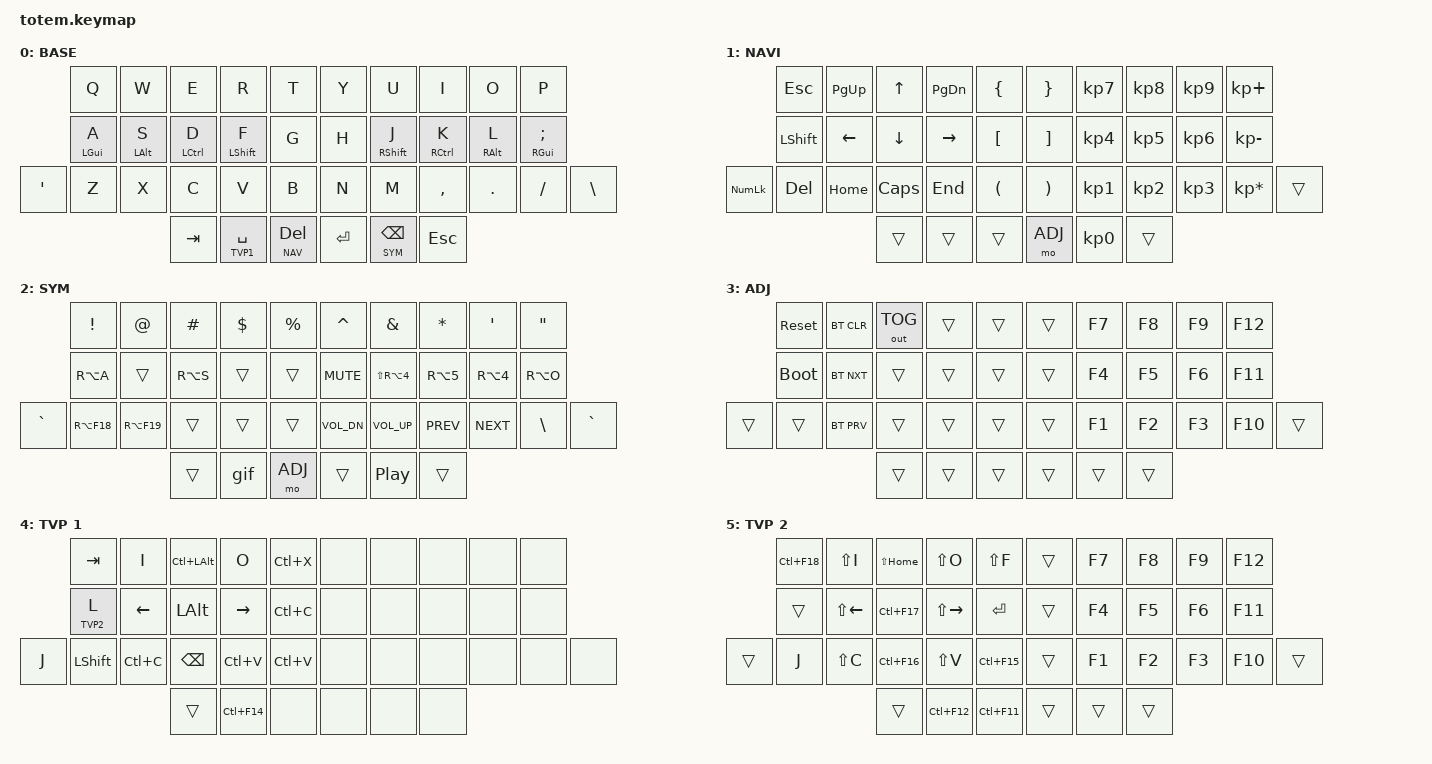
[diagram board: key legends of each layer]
//
//                                                        ▀▀▀▀▀     ▀▀▀▀▀          ▀▀█▀▀
//                                                        ▄▀▀▀▄  ▄  ▄▀▀▀▄  ▄  ▄▀▀▀▄  █  ▄▀▀▀▄
//                                                        █   █  █  █   █  █  █   █  █  █   █
//                                                         ▀▀▀   █   ▀▀▀   █   ▀▀▀   ▀   ▀▀▀
//                                                               █      ▄▄▄█▄▄▄    █   █  
//                                                               ▀      █  █  █     █▄█
//                                                             ▀▀▀▀▀    █  █  █      ▀
//                                                                      ▀  ▀  ▀
//
// ▄▄▄▄▄▄▄▄▄▄▄▄▄▄▄▄▄▄▄▄▄▄▄▄▄▄▄▄▄▄▄▄▄▄▄▄▄▄▄▄▄▄▄▄▄▄▄▄▄▄▄▄▄▄▄▄▄▄▄▄▄▄▄▄▄▄▄▄▄▄▄▄▄▄▄▄▄▄▄▄▄▄▄▄▄▄▄▄▄▄▄▄▄▄▄▄▄▄▄▄▄▄▄▄▄▄▄▄▄▄▄▄▄▄▄▄▄▄▄▄▄▄▄▄▄▄▄▄▄▄▄▄▄▄▄▄▄▄▄▄▄▄▄▄▄▄▄▄▄
       

#include <behaviors.dtsi>
#include <dt-bindings/zmk/keys.h>
#include <dt-bindings/zmk/bt.h>
#include <dt-bindings/zmk/outputs.h>

#define BASE 0
#define NAV  1
#define SYM  2
#define ADJ  3
#define TVP1 4
#define TVP2 5

#define _UNDO       LC(Z)
#define _CUT        LC(X)
#define _COPY       LC(C)
#define _PASTE      LC(V)
#define _FIND       LC(F)
#define _FIND_NEXT  LC(G)
#define _FIND_PREV  LC(LS(G))

#define LEFT_HAND_KEYS      \
        0  1  2  3  4       \
       10 11 12 13 14       \
    30 20 21 22 23 24    
#define RIGHT_HAND_KEYS     \
                                   5  6  7  8  9 \
                                  15 16 17 18 19 \
                                  25 26 27 28 29 31
#define THUMB_KEYS          \
                    32 33 34 35 36 37


&mt {
  quick-tap-ms = <100>;
  global-quick-tap;
  flavor = "tap-preferred";
  tapping-term-ms = <170>;
};

/ {
    behaviors {

        hml: home_row_mod_left {
            compatible = "zmk,behavior-hold-tap";
            #binding-cells = <2>;
            flavor = "balanced";
            require-prior-idle-ms = <150>;
            tapping-term-ms = <280>;
            quick-tap-ms = <175>;
            bindings = <&kp>, <&kp>;
            hold-trigger-key-positions = <RIGHT_HAND_KEYS THUMB_KEYS>; // List of keys on the right side of the keyboard
            hold-trigger-on-release;
        };
        hmr: home_row_mod_right {
            compatible = "zmk,behavior-hold-tap";
            #binding-cells = <2>;
            flavor = "balanced";
            require-prior-idle-ms = <150>;
            tapping-term-ms = <280>;
            quick-tap-ms = <175>;
            bindings = <&kp>, <&kp>;
            hold-trigger-key-positions = <LEFT_HAND_KEYS THUMB_KEYS>; // List of keys on the left side of the keyboard
            hold-trigger-on-release;
        };
    };
};

/ {
     combos {
            compatible = "zmk,combos";
            combo_esc {
                timeout-ms = <50>;
                key-positions = <0 1>;
                bindings = <&kp ESC>;
            };
            combo_tvp {
                timeout-ms = <100>;
                key-positions = <11 12 13>;
                bindings = <&tog TVP1>;
            };

            combo_ret {
                timeout-ms = <50>;
                key-positions = <7 8 9>;
                bindings = <&kp RET>;
            };
    };

    macros {
        gif: gif {
            label = "giphy";
            compatible = "zmk,behavior-macro";
            #binding-cells = <0>;
            bindings
                = <&macro_press &kp LSHFT>
                , <&macro_tap &kp N2>
                , <&macro_release &kp LSHFT>
                , <&macro_tap &kp G &kp I &kp F>
                ;
        };
    };

        keymap {
                compatible = "zmk,keymap";
// ▄▄▄▄▄▄▄▄▄▄▄▄▄▄▄▄▄▄▄▄▄▄▄▄▄▄▄▄▄▄▄▄▄▄▄▄▄▄▄▄▄▄▄▄▄▄▄▄▄▄▄▄▄▄▄▄▄▄▄▄▄▄▄▄▄▄▄▄▄▄▄▄▄▄▄▄▄▄▄▄▄▄▄▄▄▄▄▄▄▄▄▄▄▄▄▄▄▄▄▄▄▄▄▄▄▄▄▄▄▄▄▄▄▄▄▄▄▄▄▄▄▄▄▄▄▄▄▄▄▄▄▄▄▄▄▄▄▄▄▄▄▄▄▄▄▄▄▄▄

                base_layer {
// ┏━━━━━━━━━━━━━━━━━━━━━━━━━━━━━━━━━━━━━━━┓
label= "BASE"                              ;
// ┗━━━━━━━━━━━━━━━━━━━━━━━━━━━━━━━━━━━━━━━┛
//             ┏━━━━━━━━━━━┳━━━━━━━━━━━┳━━━━━━━━━━━┳━━━━━━━━━━━┳━━━━━━━━━━━┓   ┏━━━━━━━━━━━┳━━━━━━━━━━━┳━━━━━━━━━━━┳━━━━━━━━━━━┳━━━━━━━━━━━┓
//             ┃     Q     ┃     W     ┃     E     ┃     R     ┃     T     ┃   ┃     Y     ┃     U     ┃     I     ┃     O     ┃     P     ┃
//             ┣━━━━━━━━━━━╋━━━━━━━━━━━╋━━━━━━━━━━━╋━━━━━━━━━━━╋━━━━━━━━━━━┫   ┣━━━━━━━━━━━╋━━━━━━━━━━━╋━━━━━━━━━━━╋━━━━━━━━━━━╋━━━━━━━━━━━┫
//             ┃     A     ┃     S     ┃     D     ┃     F     ┃     G     ┃   ┃     H     ┃     J     ┃     K     ┃     L     ┃     :     ┃
// ┏━━━━━━━━━━━╋━━━━━━━━━━━╋━━━━━━━━━━━╋━━━━━━━━━━━╋━━━━━━━━━━━╋━━━━━━━━━━━┫   ┣━━━━━━━━━━━╋━━━━━━━━━━━╋━━━━━━━━━━━╋━━━━━━━━━━━╋━━━━━━━━━━━╋━━━━━━━━━━━┓
// ┃     "'    ┃     Z     ┃     X     ┃     C     ┃     V     ┃     B     ┃   ┃     N     ┃     M     ┃     ,     ┃     .     ┃     /     ┃     \     ┃
// ┗━━━━━━━━━━━┻━━━━━━━━━━━┻━━━━━━━━━━━╋━━━━━━━━━━━╋━━━━━━━━━━━╋━━━━━━━━━━━┫   ┣━━━━━━━━━━━╋━━━━━━━━━━━╋━━━━━━━━━━━╋━━━━━━━━━━━┻━━━━━━━━━━━┻━━━━━━━━━━━┛
//                                     ┃    DEL    ┃    TAB    ┃    SPC    ┃   ┃   ENTER   ┃   BSPC    ┃    ESC    ┃
//                                     ┗━━━━━━━━━━━┻━━━━━━━━━━━┻━━━━━━━━━━━┛   ┗━━━━━━━━━━━┻━━━━━━━━━━━┻━━━━━━━━━━━┛
 bindings = <
// ╷           ╷           ╷           ╷           ╷           ╷           ╷                   ╷           ╷           ╷           ╷           ╷           ╷

                &kp Q       &kp W       &kp E       &kp R       &kp T               &kp Y       &kp U         &kp I         &kp O        &kp P
                &hml LGUI A &hml LALT S &hml LCTRL D &hml LSHFT F &kp G             &kp H       &hmr RSHFT J  &hmr RCTRL K  &hmr RALT L  &hmr RGUI SEMI
        &kp SQT &kp Z       &kp X       &kp C       &kp V       &kp B               &kp N       &kp M         &kp COMMA     &kp DOT      &kp FSLH    &kp BSLH
                                        &kp TAB     &lt TVP1 SPACE &lt NAV DEL      &kp RET     &lt SYM BSPC  &kp ESC
                        >;
                };

// ▄▄▄▄▄▄▄▄▄▄▄▄▄▄▄▄▄▄▄▄▄▄▄▄▄▄▄▄▄▄▄▄▄▄▄▄▄▄▄▄▄▄▄▄▄▄▄▄▄▄▄▄▄▄▄▄▄▄▄▄▄▄▄▄▄▄▄▄▄▄▄▄▄▄▄▄▄▄▄▄▄▄▄▄▄▄▄▄▄▄▄▄▄▄▄▄▄▄▄▄▄▄▄▄▄▄▄▄▄▄▄▄▄▄▄▄▄▄▄▄▄▄▄▄▄▄▄▄▄▄▄▄▄▄▄▄▄▄▄▄▄▄▄▄▄▄▄▄▄


                nav_layer {
// ┏━━━━━━━━━━━━━━━━━━━━━━━━━━━━━━━━━━━━━━━┓
label= "NAVI"                              ;
// ┗━━━━━━━━━━━━━━━━━━━━━━━━━━━━━━━━━━━━━━━┛
//             ┏━━━━━━━━━━━┳━━━━━━━━━━━┳━━━━━━━━━━━┳━━━━━━━━━━━┳━━━━━━━━━━━┓   ┏━━━━━━━━━━━┳━━━━━━━━━━━┳━━━━━━━━━━━┳━━━━━━━━━━━┳━━━━━━━━━━━┓
//             ┃    ESC    ┃ PAGE_UP   ┃     UP    ┃ PAGE_DOWN ┃     {     ┃   ┃     }     ┃     7     ┃     8     ┃     9     ┃     +     ┃
//             ┣━━━━━━━━━━━╋━━━━━━━━━━━╋━━━━━━━━━━━╋━━━━━━━━━━━╋━━━━━━━━━━━┫   ┣━━━━━━━━━━━╋━━━━━━━━━━━╋━━━━━━━━━━━╋━━━━━━━━━━━╋━━━━━━━━━━━┫
//             ┃   SHIFT   ┃   LEFT    ┃    DOWN   ┃   RIGHT   ┃     [     ┃   ┃     ]     ┃     4     ┃     5     ┃     6     ┃     -     ┃
// ┏━━━━━━━━━━━╋━━━━━━━━━━━╋━━━━━━━━━━━╋━━━━━━━━━━━╋━━━━━━━━━━━╋━━━━━━━━━━━┫   ┣━━━━━━━━━━━╋━━━━━━━━━━━╋━━━━━━━━━━━╋━━━━━━━━━━━╋━━━━━━━━━━━╋━━━━━━━━━━━┓
// ┃   NUM     ┃    DEL    ┃   HOME    ┃  C LOCK   ┃    END    ┃     (     ┃   ┃     )     ┃     1     ┃     2     ┃     3     ┃     *     ┃           ┃
// ┗━━━━━━━━━━━┻━━━━━━━━━━━┻━━━━━━━━━━━╋━━━━━━━━━━━╋━━━━━━━━━━━╋━━━━━━━━━━━┫   ┣━━━━━━━━━━━╋━━━━━━━━━━━╋━━━━━━━━━━━╋━━━━━━━━━━━┻━━━━━━━━━━━┻━━━━━━━━━━━┛
//                                     ┃           ┃    TAB    ┃    SPC    ┃   ┃    DEL    ┃     0     ┃           ┃
//                                     ┗━━━━━━━━━━━┻━━━━━━━━━━━┻━━━━━━━━━━━┛   ┗━━━━━━━━━━━┻━━━━━━━━━━━┻━━━━━━━━━━━┛
 bindings = <
// ╷           ╷           ╷           ╷           ╷           ╷           ╷   ╷           ╷           ╷           ╷           ╷           ╷           ╷

                &kp ESC     &kp PG_UP   &kp UP      &kp PG_DN   &kp LBRC        &kp RBRC    &kp KP_N7   &kp KP_N8   &kp KP_N9   &kp KP_PLUS
                &kp LSHFT   &kp LEFT    &kp DOWN    &kp RIGHT   &kp LBKT        &kp RBKT    &kp KP_N4   &kp KP_N5   &kp KP_N6   &kp KP_MINUS
    &kp KP_NUM  &kp DEL     &kp HOME    &kp CAPS    &kp END     &kp LPAR        &kp RPAR    &kp KP_N1   &kp KP_N2   &kp KP_N3   &kp KP_MULTIPLY &trans      
                                        &trans      &trans      &trans          &mo ADJ     &kp KP_N0   &trans      
                        >;
                };

// ▄▄▄▄▄▄▄▄▄▄▄▄▄▄▄▄▄▄▄▄▄▄▄▄▄▄▄▄▄▄▄▄▄▄▄▄▄▄▄▄▄▄▄▄▄▄▄▄▄▄▄▄▄▄▄▄▄▄▄▄▄▄▄▄▄▄▄▄▄▄▄▄▄▄▄▄▄▄▄▄▄▄▄▄▄▄▄▄▄▄▄▄▄▄▄▄▄▄▄▄▄▄▄▄▄▄▄▄▄▄▄▄▄▄▄▄▄▄▄▄▄▄▄▄▄▄▄▄▄▄▄▄▄▄▄▄▄▄▄▄▄▄▄▄▄▄▄▄▄


                sim_layer {
// ┏━━━━━━━━━━━━━━━━━━━━━━━━━━━━━━━━━━━━━━━┓
label= "SYM"                               ;
// ┗━━━━━━━━━━━━━━━━━━━━━━━━━━━━━━━━━━━━━━━┛
//             ┏━━━━━━━━━━━┳━━━━━━━━━━━┳━━━━━━━━━━━┳━━━━━━━━━━━┳━━━━━━━━━━━┓   ┏━━━━━━━━━━━┳━━━━━━━━━━━┳━━━━━━━━━━━┳━━━━━━━━━━━┳━━━━━━━━━━━┓
//             ┃     !     ┃     @     ┃     #     ┃     $     ┃     %     ┃   ┃     ˆ     ┃     &     ┃     *     ┃     '     ┃     "     ┃
//             ┣━━━━━━━━━━━╋━━━━━━━━━━━╋━━━━━━━━━━━╋━━━━━━━━━━━╋━━━━━━━━━━━┫   ┣━━━━━━━━━━━╋━━━━━━━━━━━╋━━━━━━━━━━━╋━━━━━━━━━━━╋━━━━━━━━━━━┫
//             ┃     Ä     ┃           ┃    SZ     ┃           ┃           ┃   ┃   MUTE    ┃   YEN     ┃   EURO    ┃  POUND    ┃     Ö     ┃
// ┏━━━━━━━━━━━╋━━━━━━━━━━━╋━━━━━━━━━━━╋━━━━━━━━━━━╋━━━━━━━━━━━╋━━━━━━━━━━━┫   ┣━━━━━━━━━━━╋━━━━━━━━━━━╋━━━━━━━━━━━╋━━━━━━━━━━━╋━━━━━━━━━━━╋━━━━━━━━━━━┓
// ┃           ┃  EMAIL1   ┃  EMAIL2   ┃           ┃           ┃           ┃   ┃   VOL-    ┃   VOL+    ┃   LAST    ┃   NEXT    ┃     \     ┃           ┃
// ┗━━━━━━━━━━━┻━━━━━━━━━━━┻━━━━━━━━━━━╋━━━━━━━━━━━╋━━━━━━━━━━━╋━━━━━━━━━━━┫   ┣━━━━━━━━━━━╋━━━━━━━━━━━╋━━━━━━━━━━━╋━━━━━━━━━━━┻━━━━━━━━━━━┻━━━━━━━━━━━┛
//                                     ┃           ┃    GIF    ┃    ADJ    ┃   ┃           ┃           ┃           ┃
//                                     ┗━━━━━━━━━━━┻━━━━━━━━━━━┻━━━━━━━━━━━┛   ┗━━━━━━━━━━━┻━━━━━━━━━━━┻━━━━━━━━━━━┛
 bindings = <
// ╷           ╷           ╷           ╷           ╷           ╷           ╷   ╷           ╷           ╷           ╷           ╷           ╷           ╷

                &kp EXCL    &kp AT      &kp HASH    &kp DLLR    &kp PRCNT       &kp CARET   &kp AMPS    &kp STAR   &kp SQT     &kp DQT       
                &kp RA(A)   &trans      &kp RA(S)   &trans      &trans          &kp C_MUTE  &kp LS(RA(N4)) &kp RA(N5) &kp RA(N4)   &kp RA(O) 
    &kp GRAVE   &kp RA(F18) &kp RA(F19) &trans      &trans      &trans          &kp C_VOL_DN &kp C_VOL_UP &kp C_PREV &kp C_NEXT  &kp BSLH   &kp GRAVE         
                                        &trans      &gif        &mo ADJ         &trans      &kp C_PP    &trans      
                        >;
                };

// ▄▄▄▄▄▄▄▄▄▄▄▄▄▄▄▄▄▄▄▄▄▄▄▄▄▄▄▄▄▄▄▄▄▄▄▄▄▄▄▄▄▄▄▄▄▄▄▄▄▄▄▄▄▄▄▄▄▄▄▄▄▄▄▄▄▄▄▄▄▄▄▄▄▄▄▄▄▄▄▄▄▄▄▄▄▄▄▄▄▄▄▄▄▄▄▄▄▄▄▄▄▄▄▄▄▄▄▄▄▄▄▄▄▄▄▄▄▄▄▄▄▄▄▄▄▄▄▄▄▄▄▄▄▄▄▄▄▄▄▄▄▄▄▄▄▄▄▄▄


                adjust_layer {
// ┏━━━━━━━━━━━━━━━━━━━━━━━━━━━━━━━━━━━━━━━┓
label= "ADJ"                               ;
// ┗━━━━━━━━━━━━━━━━━━━━━━━━━━━━━━━━━━━━━━━┛
//             ┏━━━━━━━━━━━┳━━━━━━━━━━━┳━━━━━━━━━━━┳━━━━━━━━━━━┳━━━━━━━━━━━┓   ┏━━━━━━━━━━━┳━━━━━━━━━━━┳━━━━━━━━━━━┳━━━━━━━━━━━┳━━━━━━━━━━━┓
//             ┃   RESET   ┃ BT CLEAR  ┃  OUT TOG  ┃           ┃           ┃   ┃           ┃    F7     ┃    F8     ┃    F9     ┃    F12    ┃
//             ┣━━━━━━━━━━━╋━━━━━━━━━━━╋━━━━━━━━━━━╋━━━━━━━━━━━╋━━━━━━━━━━━┫   ┣━━━━━━━━━━━╋━━━━━━━━━━━╋━━━━━━━━━━━╋━━━━━━━━━━━╋━━━━━━━━━━━┫
//             ┃ BOOTLOAD  ┃ BT NEXT   ┃           ┃           ┃           ┃   ┃           ┃    F4     ┃    F5     ┃    F6     ┃    F11    ┃
// ┏━━━━━━━━━━━╋━━━━━━━━━━━╋━━━━━━━━━━━╋━━━━━━━━━━━╋━━━━━━━━━━━╋━━━━━━━━━━━┫   ┣━━━━━━━━━━━╋━━━━━━━━━━━╋━━━━━━━━━━━╋━━━━━━━━━━━╋━━━━━━━━━━━╋━━━━━━━━━━━┓
// ┃           ┃           ┃ BT PREV   ┃           ┃           ┃           ┃   ┃           ┃    F1     ┃    F2     ┃    F3     ┃    F10    ┃           ┃
// ┗━━━━━━━━━━━┻━━━━━━━━━━━┻━━━━━━━━━━━╋━━━━━━━━━━━╋━━━━━━━━━━━╋━━━━━━━━━━━┫   ┣━━━━━━━━━━━╋━━━━━━━━━━━╋━━━━━━━━━━━╋━━━━━━━━━━━┻━━━━━━━━━━━┻━━━━━━━━━━━┛
//                                     ┃           ┃           ┃           ┃   ┃           ┃           ┃           ┃
//                                     ┗━━━━━━━━━━━┻━━━━━━━━━━━┻━━━━━━━━━━━┛   ┗━━━━━━━━━━━┻━━━━━━━━━━━┻━━━━━━━━━━━┛
 bindings = <
// ╷           ╷           ╷           ╷           ╷           ╷           ╷   ╷           ╷           ╷           ╷           ╷           ╷           ╷

                &sys_reset  &bt BT_CLR &out OUT_TOG &trans      &trans          &trans      &kp F7      &kp F8      &kp F9      &kp F12
                &bootloader &bt BT_NXT  &trans      &trans      &trans          &trans      &kp F4      &kp F5      &kp F6      &kp F11  
    &trans      &trans      &bt BT_PRV  &trans      &trans      &trans          &trans      &kp F1      &kp F2      &kp F3      &kp F10     &trans         
                                        &trans      &trans      &trans          &trans      &trans      &trans      
                        >;
                };

// ▄▄▄▄▄▄▄▄▄▄▄▄▄▄▄▄▄▄▄▄▄▄▄▄▄▄▄▄▄▄▄▄▄▄▄▄▄▄▄▄▄▄▄▄▄▄▄▄▄▄▄▄▄▄▄▄▄▄▄▄▄▄▄▄▄▄▄▄▄▄▄▄▄▄▄▄▄▄▄▄▄▄▄▄▄▄▄▄▄▄▄▄▄▄▄▄▄▄▄▄▄▄▄▄▄▄▄▄▄▄▄▄▄▄▄▄▄▄▄▄▄▄▄▄▄▄▄▄▄▄▄▄▄▄▄▄▄▄▄▄▄▄▄▄▄▄▄▄▄


                tvp1_layer {
// ┏━━━━━━━━━━━━━━━━━━━━━━━━━━━━━━━━━━━━━━━┓
label= "TVP 1"                             ;
// ┗━━━━━━━━━━━━━━━━━━━━━━━━━━━━━━━━━━━━━━━┛
//             ┏━━━━━━━━━━━┳━━━━━━━━━━━┳━━━━━━━━━━━┳━━━━━━━━━━━┳━━━━━━━━━━━┓   ┏━━━━━━━━━━━┳━━━━━━━━━━━┳━━━━━━━━━━━┳━━━━━━━━━━━┳━━━━━━━━━━━┓
//             ┃ NEXT FILE ┃ MARK IN   ┃ ROTATE    ┃ MARK OUT  ┃ CUT       ┃   ┃           ┃           ┃           ┃           ┃           ┃
//             ┣━━━━━━━━━━━╋━━━━━━━━━━━╋━━━━━━━━━━━╋━━━━━━━━━━━╋━━━━━━━━━━━┫   ┣━━━━━━━━━━━╋━━━━━━━━━━━╋━━━━━━━━━━━╋━━━━━━━━━━━╋━━━━━━━━━━━┫
//             ┃ TVP II    ┃ LEFT      ┃ PAN       ┃ RIGHT     ┃ COPY      ┃   ┃           ┃           ┃           ┃           ┃           ┃
// ┏━━━━━━━━━━━╋━━━━━━━━━━━╋━━━━━━━━━━━╋━━━━━━━━━━━╋━━━━━━━━━━━╋━━━━━━━━━━━┫   ┣━━━━━━━━━━━╋━━━━━━━━━━━╋━━━━━━━━━━━╋━━━━━━━━━━━╋━━━━━━━━━━━╋━━━━━━━━━━━┓
// ┃ FULLSCR   ┃ SHIFT     ┃ COPY      ┃ DELETE    ┃ PASTE     ┃ PASTE     ┃   ┃           ┃           ┃           ┃           ┃           ┃           ┃
// ┗━━━━━━━━━━━┻━━━━━━━━━━━┻━━━━━━━━━━━╋━━━━━━━━━━━╋━━━━━━━━━━━╋━━━━━━━━━━━┫   ┣━━━━━━━━━━━╋━━━━━━━━━━━╋━━━━━━━━━━━╋━━━━━━━━━━━┻━━━━━━━━━━━┻━━━━━━━━━━━┛
//                                     ┃           ┃ UNDO/SAVE ┃           ┃   ┃           ┃           ┃           ┃
//                                     ┗━━━━━━━━━━━┻━━━━━━━━━━━┻━━━━━━━━━━━┛   ┗━━━━━━━━━━━┻━━━━━━━━━━━┻━━━━━━━━━━━┛
 bindings = <
// ╷           ╷           ╷           ╷             ╷           ╷           ╷   ╷           ╷           ╷           ╷           ╷           ╷           ╷

                &kp TAB     &kp I       &kp LC(LALT) &kp O       &kp _CUT        &none       &none       &none       &none       &none
                &lt TVP2 L  &kp LEFT    &kp LALT     &kp RIGHT   &kp _COPY       &none       &none       &none       &none       &none
    &kp J       &kp LSHFT   &kp LC(C)   &kp BSPC     &kp LC(V)   &kp _PASTE      &none       &none       &none       &none       &none       &none        
                                        &trans       &kp LC(F14) &none           &none       &none       &none    
                        >;
                };

// ▄▄▄▄▄▄▄▄▄▄▄▄▄▄▄▄▄▄▄▄▄▄▄▄▄▄▄▄▄▄▄▄▄▄▄▄▄▄▄▄▄▄▄▄▄▄▄▄▄▄▄▄▄▄▄▄▄▄▄▄▄▄▄▄▄▄▄▄▄▄▄▄▄▄▄▄▄▄▄▄▄▄▄▄▄▄▄▄▄▄▄▄▄▄▄▄▄▄▄▄▄▄▄▄▄▄▄▄▄▄▄▄▄▄▄▄▄▄▄▄▄▄▄▄▄▄▄▄▄▄▄▄▄▄▄▄▄▄▄▄▄▄▄▄▄▄▄▄▄


                tvp2_layer {
// ┏━━━━━━━━━━━━━━━━━━━━━━━━━━━━━━━━━━━━━━━┓
label= "TVP 2"                             ;
// ┗━━━━━━━━━━━━━━━━━━━━━━━━━━━━━━━━━━━━━━━┛
//             ┏━━━━━━━━━━━┳━━━━━━━━━━━┳━━━━━━━━━━━┳━━━━━━━━━━━┳━━━━━━━━━━━┓   ┏━━━━━━━━━━━┳━━━━━━━━━━━┳━━━━━━━━━━━┳━━━━━━━━━━━┳━━━━━━━━━━━┓
//             ┃ SOLO      ┃ TOGGLE IN ┃ RESET ROT ┃ TOGGLE OUT┃ TAKE SNAP ┃   ┃           ┃           ┃           ┃           ┃           ┃
//             ┣━━━━━━━━━━━╋━━━━━━━━━━━╋━━━━━━━━━━━╋━━━━━━━━━━━╋━━━━━━━━━━━┫   ┣━━━━━━━━━━━╋━━━━━━━━━━━╋━━━━━━━━━━━╋━━━━━━━━━━━╋━━━━━━━━━━━┫
//             ┃ ---       ┃ LAST KEY  ┃ NEW KEY   ┃ NEXT KEY  ┃ ENTER     ┃   ┃           ┃           ┃           ┃           ┃           ┃
// ┏━━━━━━━━━━━╋━━━━━━━━━━━╋━━━━━━━━━━━╋━━━━━━━━━━━╋━━━━━━━━━━━╋━━━━━━━━━━━┫   ┣━━━━━━━━━━━╋━━━━━━━━━━━╋━━━━━━━━━━━╋━━━━━━━━━━━╋━━━━━━━━━━━╋━━━━━━━━━━━┓
// ┃           ┃ FULLSCR   ┃ CPY2BRUSH ┃ DEL HEAD  ┃ PSTinPLACE┃ BOOK MARK ┃   ┃           ┃           ┃           ┃           ┃           ┃           ┃
// ┗━━━━━━━━━━━┻━━━━━━━━━━━┻━━━━━━━━━━━╋━━━━━━━━━━━╋━━━━━━━━━━━╋━━━━━━━━━━━┫   ┣━━━━━━━━━━━╋━━━━━━━━━━━╋━━━━━━━━━━━╋━━━━━━━━━━━┻━━━━━━━━━━━┻━━━━━━━━━━━┛
//                                     ┃           ┃ REDO/SAV1 ┃TRANS/WARP ┃   ┃           ┃           ┃           ┃
//                                     ┗━━━━━━━━━━━┻━━━━━━━━━━━┻━━━━━━━━━━━┛   ┗━━━━━━━━━━━┻━━━━━━━━━━━┻━━━━━━━━━━━┛
 bindings = <
// ╷           ╷           ╷           ╷           ╷           ╷           ╷   ╷           ╷           ╷           ╷           ╷           ╷           ╷

                &kp LC(F18) &kp LS(I)  &kp LS(HOME) &kp LS(O)   &kp LS(F)       &trans      &kp F7      &kp F8      &kp F9      &kp F12
                &trans      &kp LS(LEFT) &kp LC(F17) &kp LS(RIGHT) &kp RET      &trans      &kp F4      &kp F5      &kp F6      &kp F11  
    &trans      &kp J       &kp LS(C)   &kp LC(F16) &kp LS(V)   &kp LC(F15)     &trans      &kp F1      &kp F2      &kp F3      &kp F10     &trans         
                                        &trans      &kp LC(F12) &kp LC(F11)     &trans      &trans      &trans      
                        >;
                };
        };
};
